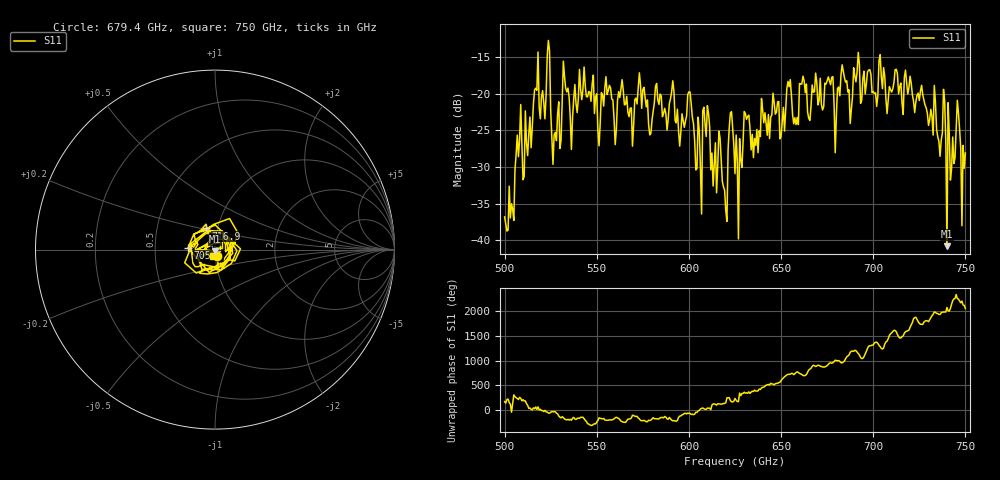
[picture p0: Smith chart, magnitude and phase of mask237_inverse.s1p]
!Created with skrf (http://scikit-rf.org).
# GHz S MA R 50.0
!freq magS11 angS11
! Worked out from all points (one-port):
!   401 points, 500 GHz to 750 GHz, reference 50 ohm
!   lowest |S11| = -40.8 dB at 740 GHz (marker M1), VSWR 1.02, Z = 50 - j0.911 ohm
!   |S11| at or under -10 dB: start of sweep to end of sweep
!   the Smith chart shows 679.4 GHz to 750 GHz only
!   S11 on the Smith chart (normalised r, x): 679.4 GHz: 1.03, -0.08; 705.6 GHz: 0.74, +0.02; 716.9 GHz: 0.88, +0.21; 750 GHz: 0.98, -0.07
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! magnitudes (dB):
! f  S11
! 500 GHz  -36.8
! 516.9 GHz  -19.3
! 520.6 GHz  -19.6
! 523.8 GHz  -12.8
! 526.9 GHz  -25.6
! 531.2 GHz  -21.1
! 562.5 GHz  -20.5
! 579.4 GHz  -25.4
! 590.6 GHz  -19.7
! 593.8 GHz  -22.1
! 600.6 GHz  -19.8
! 605.6 GHz  -25.1
! 609.4 GHz  -25.9
! 619.4 GHz  -33.2
! 622.5 GHz  -22.6
! 625 GHz  -30.9
! 627.5 GHz  -26.1
! 656.2 GHz  -22.9
! 676.9 GHz  -18.8
! 679.4 GHz  -28.1
! 683.8 GHz  -16.9
! 687.5 GHz  -24.1
! 690.6 GHz  -18.4
! 705.6 GHz  -16.5
! 716.9 GHz  -17.8
! 718.8 GHz  -20.1
! 740 GHz  -40.8
! 750 GHz  -28.1
